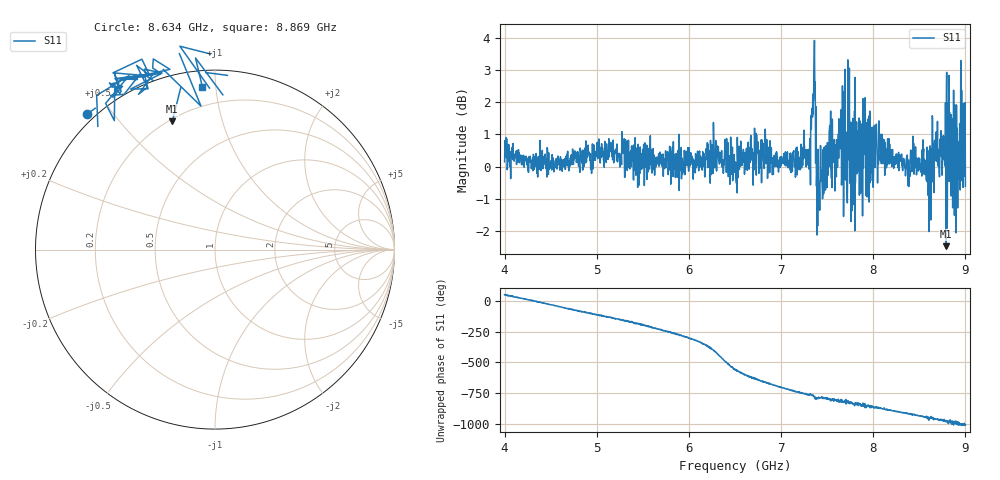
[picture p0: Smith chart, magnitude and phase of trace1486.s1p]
! Created with skrf 1.8.0 (http://scikit-rf.org).
# Hz S RI R 50.0
!freq ReS11 ImS11
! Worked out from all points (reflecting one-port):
!   1601 points, 4 GHz to 9 GHz, reference 50 ohm
!   lowest |S11| = -2.5 dB at 8.791 GHz (marker M1), VSWR 7.10, Z = 10.6 + j35 ohm
!   phase of S11 starts at 49 deg and turns -1056 deg over the sweep
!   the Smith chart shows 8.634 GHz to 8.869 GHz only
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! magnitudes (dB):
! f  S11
! 4 GHz  0.2
! 4.625 GHz  -0.1
! 5.25 GHz  0.0
! 5.875 GHz  0.4
! 6.409 GHz  0.9
! 6.5 GHz  -0.2
! 6.731 GHz  -0.3
! 7.125 GHz  0.4
! 7.294 GHz  0.3
! 7.347 GHz  1.6
! 7.409 GHz  -0.6
! 7.512 GHz  0.4
! 7.588 GHz  0.3
! 7.669 GHz  1.2
! 7.697 GHz  -0.3
! 7.75 GHz  -0.5
! 7.775 GHz  1.1
! 7.822 GHz  -0.2
! 7.962 GHz  1.7
! 8.375 GHz  -0.1
! 8.428 GHz  0.5
! 8.603 GHz  -0.2
! 8.656 GHz  0.2
! 8.791 GHz  -2.5
! 8.834 GHz  1.3
! 8.9 GHz  -2.0
! 8.972 GHz  0.7
! 9 GHz  -0.6
